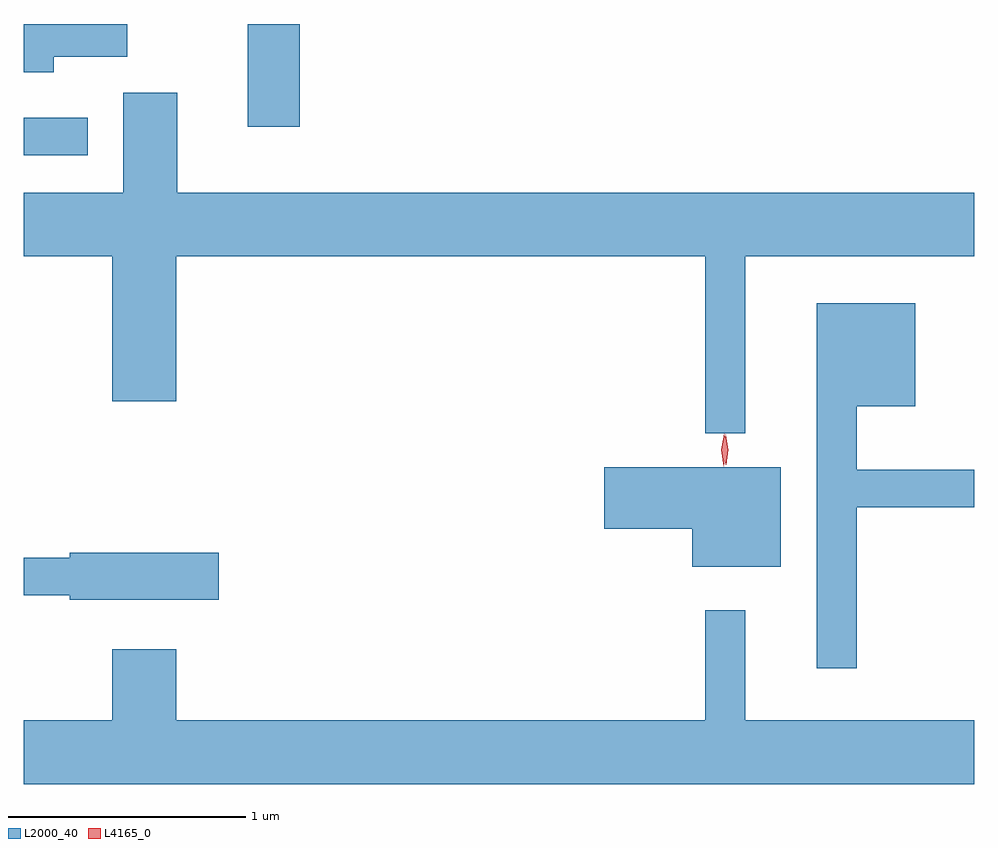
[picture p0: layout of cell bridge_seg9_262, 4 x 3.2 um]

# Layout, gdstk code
import gdstk
lib = gdstk.Library(unit=1e-6, precision=1e-09)
def R(c, l, rs):  # rectangles x0, y0, x1, y1
    for r in rs: c.add(gdstk.rectangle(r[:2], r[2:], *l))
def P(c, l, *ps):  # polygons
    for p in ps: c.add(gdstk.Polygon(p, *l))
L2000_40 = (2000, 40)
L4165_0 = (4165, 0)

bridge_seg9_262 = lib.new_cell('bridge_seg9_262')
R(bridge_seg9_262, L2000_40, [(933.983,2052.181,934.253,2052.339), (934.926,2052.301,935.144,2052.734)])
P(bridge_seg9_262, L2000_40, [(934.109,2052.596),(934.419,2052.596),(934.419,2052.734),(933.983,2052.734),(933.983,2052.531),(934.109,2052.531)],
  [(937.019,2051.756),(937.983,2051.756),(937.983,2052.024),(934.629,2052.024),(934.629,2052.444),(934.401,2052.444),(934.401,2052.024),(933.983,2052.024),(933.983,2051.756),(934.356,2051.756),(934.356,2051.146),(934.624,2051.146),(934.624,2051.756),(936.851,2051.756),(936.851,2051.012),(937.019,2051.012)],
  [(937.489,2050.701),(937.983,2050.701),(937.983,2050.859),(937.489,2050.859),(937.489,2051.126),(937.734,2051.126),(937.734,2051.559),(937.321,2051.559),(937.321,2050.023),(937.489,2050.023)],
  [(937.169,2050.869),(936.426,2050.869),(936.426,2050.611),(936.796,2050.611),(936.796,2050.451),(937.169,2050.451)],
  [(934.804,2050.509),(934.176,2050.509),(934.176,2050.489),(933.983,2050.489),(933.983,2050.331),(934.176,2050.331),(934.176,2050.311),(934.804,2050.311)],
  [(934.356,2050.104),(934.356,2049.804),(933.983,2049.804),(933.983,2049.536),(937.983,2049.536),(937.983,2049.804),(937.019,2049.804),(937.019,2050.268),(936.851,2050.268),(936.851,2049.804),(934.624,2049.804),(934.624,2050.104)])
P(bridge_seg9_262, L4165_0, [(936.928,2050.874),(936.928,2050.874),(936.919,2050.942),(936.93,2051.01),(936.93,2051.01),(936.93,2051.01),(936.939,2050.942),(936.929,2050.874)],
  [(936.938,2050.88),(936.938,2050.88),(936.928,2050.943),(936.937,2051.006),(936.938,2051.007),(936.938,2051.006),(936.948,2050.943),(936.939,2050.88)])

lib.write_gds('bridge_seg9_262.gds')
